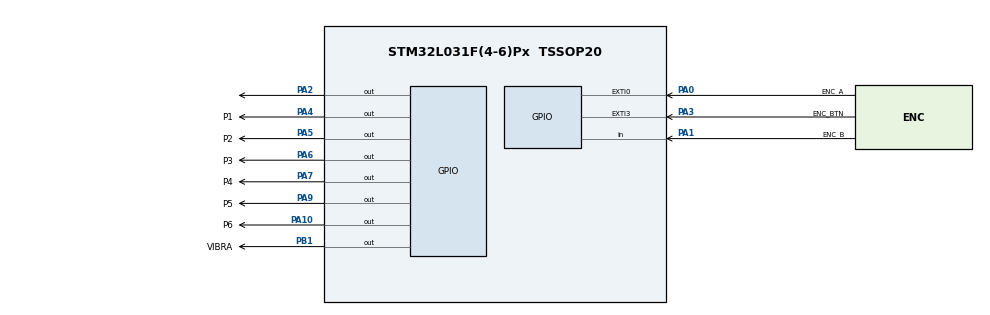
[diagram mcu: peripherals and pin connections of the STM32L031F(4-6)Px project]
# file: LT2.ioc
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Mcu.Family=STM32L0
Mcu.Name=STM32L031F(4-6)Px
Mcu.Package=TSSOP20
NVIC.EXTI0_1_IRQn=true\:0\:0\:false\:false\:true\:true\:true\:true
NVIC.EXTI2_3_IRQn=true\:0\:0\:false\:false\:true\:true\:true\:true
NVIC.RTC_IRQn=true\:0\:0\:false\:false\:true\:true\:true\:true
NVIC.TIM21_IRQn=true\:0\:0\:false\:false\:true\:true\:true\:true
NVIC.TIM22_IRQn=true\:0\:0\:false\:false\:true\:true\:true\:true
NVIC.TIM2_IRQn=true\:0\:0\:false\:false\:true\:true\:true\:true
PA0-CK_IN.GPIO_Label=ENC_A
PA0-CK_IN.GPIO_ModeDefaultEXTI=GPIO_MODE_IT_RISING_FALLING
PA0-CK_IN.Signal=GPXTI0
PA1.GPIO_Label=ENC_B
PA1.Signal=GPIO_Input
PA10.GPIO_Label=P6
PA10.Signal=GPIO_Output
PA13.Mode=Serial_Wire
PA13.Signal=SYS_SWDIO
PA14.Mode=Serial_Wire
PA14.Signal=SYS_SWCLK
PA2.Signal=GPIO_Output
PA3.GPIO_Label=ENC_BTN
PA3.GPIO_ModeDefaultEXTI=GPIO_MODE_IT_RISING_FALLING
PA3.Signal=GPXTI3
PA4.GPIO_Label=P1
PA4.Signal=GPIO_Output
PA5.GPIO_Label=P2
PA5.Signal=GPIO_Output
PA6.GPIO_Label=P3
PA6.Signal=GPIO_Output
PA7.GPIO_Label=P4
PA7.Signal=GPIO_Output
PA9.GPIO_Label=P5
PA9.Signal=GPIO_Output
PB1.GPIO_Label=VIBRA
PB1.Signal=GPIO_Output
PC14-OSC32_IN.Mode=LSE-External-Oscillator
PC14-OSC32_IN.Signal=RCC_OSC32_IN
PC15-OSC32_OUT.Mode=LSE-External-Oscillator
PC15-OSC32_OUT.Signal=RCC_OSC32_OUT
ProjectManager.HeapSize=0x200
ProjectManager.StackSize=0x400
ProjectManager.TargetToolchain=STM32CubeIDE
RCC.AHBFreq_Value=16000000
RCC.APB1Freq_Value=16000000
RCC.APB1TimFreq_Value=16000000
RCC.APB2Freq_Value=16000000
RCC.APB2TimFreq_Value=16000000
RCC.HCLKFreq_Value=16000000
RCC.HSE_VALUE=8000000
RCC.HSI16_VALUE=16000000
RCC.HSI_VALUE=16000000
RCC.MSI_VALUE=2097000
RCC.RTCClockSelection=RCC_RTCCLKSOURCE_LSE
RCC.RTCClockSelectionVirtual=RCC_RTCCLKSOURCE_LSE
RCC.SYSCLKFreq_VALUE=16000000
RCC.SYSCLKSource=RCC_SYSCLKSOURCE_HSI
RCC.VCOOutputFreq_Value=48000000
TIM2.Channel-Output\ Compare1\ No\ Output=TIM_CHANNEL_1
TIM2.Channel-Output\ Compare2\ No\ Output=TIM_CHANNEL_2
TIM2.Channel-Output\ Compare3\ No\ Output=TIM_CHANNEL_3
TIM2.Channel-Output\ Compare4\ No\ Output=TIM_CHANNEL_4
TIM2.Prescaler=15999
TIM21.Channel-Output\ Compare1\ No\ Output=TIM_CHANNEL_1
TIM21.Channel-Output\ Compare2\ No\ Output=TIM_CHANNEL_2
TIM21.Period=0
TIM21.Prescaler=15999
TIM22.Channel-Output\ Compare1\ No\ Output=TIM_CHANNEL_1
TIM22.Period=110
TIM22.Prescaler=100
TIM22.Pulse-Output\ Compare1\ No\ Output=50
VP_RTC_VS_RTC_Activate.Mode=RTC_Enabled
VP_RTC_VS_RTC_WakeUp_intern.Mode=WakeUp
VP_SYS_VS_LPOM.Mode=PowerOptimisation
VP_TIM21_VS_no_output1.Mode=Output Compare1 No Output
VP_TIM21_VS_no_output2.Mode=Output Compare2 No Output
VP_TIM22_VS_ClockSourceINT.Mode=Internal
VP_TIM22_VS_no_output1.Mode=Output Compare1 No Output
VP_TIM2_VS_ClockSourceINT.Mode=Internal
VP_TIM2_VS_no_output1.Mode=Output Compare1 No Output
VP_TIM2_VS_no_output2.Mode=Output Compare2 No Output
VP_TIM2_VS_no_output3.Mode=Output Compare3 No Output
VP_TIM2_VS_no_output4.Mode=Output Compare4 No Output
board=custom

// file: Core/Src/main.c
/* USER CODE BEGIN Header */
/**
  ******************************************************************************
  * @file           : main.c
  * @brief          : Main program body
  ******************************************************************************
  * @attention
  *
  * Copyright (c) 2025 STMicroelectronics.
  * All rights reserved.
  *
  * This software is licensed under terms that can be found in the LICENSE file
  * in the root directory of this software component.
  * If no LICENSE file comes with this software, it is provided AS-IS.
  *
  ******************************************************************************
  */
/* USER CODE END Header */
#include "main.h"
#include "rtc.h"
#include "tim.h"
#include "gpio.h"

/* USER CODE BEGIN Includes */
#include "encoder.h"
#include "disp.h"
/* USER CODE END Includes */

void SystemClock_Config(void);

/* USER CODE BEGIN 0 */
static int8_t main_task_func(uint8_t event, void *data);
static task_t main_task = {.name = "main task", .task = main_task_func};
int8_t main_tid;

// states
#define MAIN_ST_OFF (0)
#define MAIN_ST_SET_TIMER (1)
#define MAIN_ST_RUNNING (2)
#define MAIN_ST_RUNNING_DISP_OFF (3)
#define MAIN_ST_PAUSE (4)
#define MAIN_ST_ALARM (5)
#define MAIN_ST_TEST (6)

static struct {
	uint16_t state;
	struct {
		uint8_t min, sec;
	} timer_set, timer_cnt;
	uint16_t disp_timeout;
	uint8_t disp_state;
} main_task_ctrl = {
		.state = MAIN_ST_OFF,
};
#define TIMER_SET_MAX_MINUTES (99)
#define TIMER_SET_MIN_MINUTES (01)
#define TIMER_SET_SECONDS (59)

#define TIMER_DISP_ON_TIMEOUT (30) // in s
#define TIMER_DISP_ALARM_TIMEOUT (30) // in s

static inline void vibra_off(void) {
	LL_GPIO_ResetOutputPin(VIBRA_GPIO_Port, VIBRA_Pin);
}

static inline void vibra_on(void) {
	LL_GPIO_SetOutputPin(VIBRA_GPIO_Port, VIBRA_Pin);
}

static int8_t main_task_func(uint8_t event, void *data) {
	switch(main_task_ctrl.state) {
	// -------------------------------------------------------------------------
	case MAIN_ST_OFF:
		if( (event == EV_START) ||
			(event == EV_ENC_SINGLE_PRESSED)) {
			// was in off state
			power_mode_request(POWER_MODE_SLEEP); // to display time and timer functionalities
			main_task_ctrl.state = MAIN_ST_SET_TIMER;
			main_task_ctrl.timer_set.min = 1;
			main_task_ctrl.timer_set.sec = 0;
			disp_on();
			disp_show_number(main_task_ctrl.timer_set.min);
			main_task_ctrl.disp_timeout = TIMER_DISP_ON_TIMEOUT;
			rtc_start_1s_timing_event();
			encoder_btn_use_debounce();
			vibra_off();
		}
		break;

	// -------------------------------------------------------------------------
	case MAIN_ST_SET_TIMER:
		if(event == EV_TIMER_RTC) { // timeout--
			if(main_task_ctrl.disp_timeout) {
				main_task_ctrl.disp_timeout--;
				if(main_task_ctrl.disp_timeout == 0) {
					// expired
					main_task_ctrl.state = MAIN_ST_OFF;
					power_mode_release(POWER_MODE_SLEEP);
					rtc_stop_timing_event();
					encoder_btn_use_int_only();
					disp_off();
					vibra_off();
				}
			}
		}
		if(event == EV_ENC_ROT_RIGHT) { // +
			main_task_ctrl.disp_timeout = TIMER_DISP_ON_TIMEOUT; // reset timeout
			if(main_task_ctrl.timer_set.min < TIMER_SET_MAX_MINUTES) {
				main_task_ctrl.timer_set.min++;
				disp_show_number(main_task_ctrl.timer_set.min);
			}
		}
		if(event == EV_ENC_ROT_LEFT) { // -
			main_task_ctrl.disp_timeout = TIMER_DISP_ON_TIMEOUT; // reset timeout
			if(main_task_ctrl.timer_set.min > TIMER_SET_MIN_MINUTES) {
				main_task_ctrl.timer_set.min--;
				disp_show_number(main_task_ctrl.timer_set.min);
			}
		}
		if(event == EV_ENC_SINGLE_PRESSED) { // start
			main_task_ctrl.state = MAIN_ST_RUNNING;
			main_task_ctrl.timer_cnt.min = main_task_ctrl.timer_set.min;
			main_task_ctrl.timer_cnt.sec = main_task_ctrl.timer_set.sec;
			disp_show_number(main_task_ctrl.timer_cnt.min);
			disp_activity_on();
			rtc_start_1s_timing_event();
		}
		if(event == EV_ENC_LONG_PRESSED) { // stop, off
			main_task_ctrl.state = MAIN_ST_OFF;
			power_mode_release(POWER_MODE_SLEEP);
			rtc_stop_timing_event();
			encoder_btn_use_int_only();
			disp_off();
		}
		break;

	// -------------------------------------------------------------------------
	case MAIN_ST_RUNNING:
		if(event == EV_TIMER_RTC) { // timeout--
			main_task_ctrl.disp_state = 1;
			if(main_task_ctrl.timer_cnt.sec == 0) {
				if(main_task_ctrl.timer_cnt.min == 0) {
					// expired: ALARM
					main_task_ctrl.state = MAIN_ST_ALARM;
					main_task_ctrl.disp_state = 0;
					main_task_ctrl.disp_timeout = TIMER_DISP_ALARM_TIMEOUT;
					disp_show_number(main_task_ctrl.timer_set.min);
					vibra_on();
				}
				else {
					main_task_ctrl.timer_cnt.sec = TIMER_SET_SECONDS;
					main_task_ctrl.timer_cnt.min--;
				}
			}
			else {
				main_task_ctrl.timer_cnt.sec--;
			}

			if(main_task_ctrl.timer_cnt.min) {
				disp_show_number(main_task_ctrl.timer_cnt.min);
			}
			else {
				disp_show_number(main_task_ctrl.timer_cnt.sec);
			}
			if(main_task_ctrl.disp_state) {
				if(main_task_ctrl.timer_cnt.sec & 0x01)
					disp_activity_on();
				else
					disp_activity_off();
			}
		}
		if(event == EV_ENC_SINGLE_PRESSED) { // pause
			main_task_ctrl.state = MAIN_ST_PAUSE;
			rtc_start_1s_timing_event();
			if(main_task_ctrl.timer_cnt.min) {
				disp_show_number(main_task_ctrl.timer_cnt.min);
			}
			else {
				disp_show_number(main_task_ctrl.timer_cnt.sec);
			}
			disp_activity_off();
			main_task_ctrl.disp_state = 0;
		}
		if(event == EV_ENC_LONG_PRESSED) { // stop, set time
			main_task_ctrl.state = MAIN_ST_SET_TIMER;
			disp_show_number(main_task_ctrl.timer_set.min);
			main_task_ctrl.disp_timeout = TIMER_DISP_ON_TIMEOUT;
			rtc_start_1s_timing_event();
		}
		break;

	// -------------------------------------------------------------------------
	case MAIN_ST_RUNNING_DISP_OFF:
		break;

	// -------------------------------------------------------------------------
	case MAIN_ST_PAUSE:
		if(event == EV_TIMER_RTC) { // blink time
			if(main_task_ctrl.disp_state == 0) {
				main_task_ctrl.disp_state = 1;
				disp_number_off();
			}
			else {
				main_task_ctrl.disp_state = 0;
				if(main_task_ctrl.timer_cnt.min) {
					disp_show_number(main_task_ctrl.timer_cnt.min);
				}
				else {
					disp_show_number(main_task_ctrl.timer_cnt.sec);
				}
			}
		}
		if(event == EV_ENC_SINGLE_PRESSED) { // resume
			main_task_ctrl.state = MAIN_ST_RUNNING;
			disp_show_number(main_task_ctrl.timer_cnt.min);
			disp_activity_on();
			rtc_start_1s_timing_event();
		}
		if(event == EV_ENC_LONG_PRESSED) { // stop, set time
			main_task_ctrl.state = MAIN_ST_SET_TIMER;
			disp_show_number(main_task_ctrl.timer_set.min);
			main_task_ctrl.disp_timeout = TIMER_DISP_ON_TIMEOUT;
			rtc_start_1s_timing_event();
		}
		break;

	// -------------------------------------------------------------------------// -------------------------------------------------------------------------
	case MAIN_ST_ALARM:
		if(event == EV_TIMER_RTC) { // blink time
			if(main_task_ctrl.disp_timeout) {
				main_task_ctrl.disp_timeout--;
				if(main_task_ctrl.disp_timeout == 0) {
					// expired
					main_task_ctrl.state = MAIN_ST_SET_TIMER;
					disp_show_number(main_task_ctrl.timer_set.min);
					main_task_ctrl.disp_timeout = TIMER_DISP_ON_TIMEOUT;
					rtc_start_1s_timing_event();
					vibra_off();
					break;
				}
			}
			if(main_task_ctrl.disp_state == 0) {
				main_task_ctrl.disp_state = 1;
				disp_number_off();
				vibra_off();
			}
			else {
				main_task_ctrl.disp_state = 0;
				disp_show_number(main_task_ctrl.timer_set.min);
				vibra_on();
			}
		}
		if( (event == EV_ENC_SINGLE_PRESSED) ||
			(event == EV_ENC_LONG_PRESSED)) { // done, go back to set time
			main_task_ctrl.state = MAIN_ST_SET_TIMER;
			disp_show_number(main_task_ctrl.timer_set.min);
			main_task_ctrl.disp_timeout = TIMER_DISP_ON_TIMEOUT;
			rtc_start_1s_timing_event();
			vibra_off();
		}
		break;
	}

	return 1; // stay on
}

/*
 * power modes, cases
 *
 * 1. case 0: nothing to do, no data to preserve
 *   + available power modes: **stop**
 *   + all power down,
 *   + wakeup by rotary encoder, press or rotate -> EXTI, GPIO only
 *   + available power modes:
 *     + GPIO + EXTI: run; sleep; low-power run; low-power-sleep; stop; wake up from standby:
 *       + PA0: WKUP1: ENC_A_Pin -> rotate knob to wake
 *       + PA2: WKUP3: unused (UART2_TX)
 * 2. case 1: display, setup time, count down time
 *   + use power mode: **sleep**
 *   + active: rotary encoder + button -> 16-bit timers
 *   + RTC timer
 *   + display -> 16-bit timers
 *   + CPU may be off, when there is nothing to do
 *   + available power modes:
 *     + 16-bit timers: run; **sleep**; low-power run; low-power-sleep; - ; -
 *     + RTC: run; sleep; low-power run; low-power-sleep; stop; standby
 */

/* USER CODE END 0 */

int main(void)
{

  /* MCU Configuration--------------------------------------------------------*/

  /* Reset of all peripherals, Initializes the Flash interface and the Systick. */
  LL_APB2_GRP1_EnableClock(LL_APB2_GRP1_PERIPH_SYSCFG);
  LL_APB1_GRP1_EnableClock(LL_APB1_GRP1_PERIPH_PWR);

  /* SysTick_IRQn interrupt configuration */
  NVIC_SetPriority(SysTick_IRQn, 3);

  /* Configure the system clock */
  SystemClock_Config();

  /* Initialize all configured peripherals */
  MX_GPIO_Init();
  MX_RTC_Init();
  MX_TIM22_Init();
  MX_TIM2_Init();
  MX_TIM21_Init();
  /* USER CODE BEGIN 2 */
	scheduler_init();
	//power_mode_request(POWER_MODE_SLEEP); // to display time and timer functionalities
	power_mode_request(POWER_MODE_STOP); // no to do: power down everything, but generate INT on encoder input

	encoder_init();
	disp_init();
	vibra_off();

	scheduler_add_task(&main_task);
	main_tid = main_task.tid;
	scheduler_start_task(main_tid);

	// stay in scheduler
	scheduler_run();

  /* USER CODE END 2 */

  /* Infinite loop */
	while (1)
	{

	}
}

void SystemClock_Config(void)
{
  LL_FLASH_SetLatency(LL_FLASH_LATENCY_0);
  while(LL_FLASH_GetLatency()!= LL_FLASH_LATENCY_0)
  {
  }
  LL_PWR_SetRegulVoltageScaling(LL_PWR_REGU_VOLTAGE_SCALE1);
  while (LL_PWR_IsActiveFlag_VOS() != 0)
  {
  }
  LL_RCC_HSI_Enable();

   /* Wait till HSI is ready */
  while(LL_RCC_HSI_IsReady() != 1)
  {

  }
  LL_RCC_HSI_SetCalibTrimming(16);
  LL_PWR_EnableBkUpAccess();
  if(LL_RCC_GetRTCClockSource() != LL_RCC_RTC_CLKSOURCE_LSE)
  {
    LL_RCC_ForceBackupDomainReset();
    LL_RCC_ReleaseBackupDomainReset();
  }
  LL_RCC_LSE_SetDriveCapability(LL_RCC_LSEDRIVE_LOW);
  LL_RCC_LSE_Enable();

   /* Wait till LSE is ready */
  while(LL_RCC_LSE_IsReady() != 1)
  {

  }
  if(LL_RCC_GetRTCClockSource() != LL_RCC_RTC_CLKSOURCE_LSE)
  {
    LL_RCC_SetRTCClockSource(LL_RCC_RTC_CLKSOURCE_LSE);
  }
  LL_RCC_EnableRTC();
  LL_RCC_SetAHBPrescaler(LL_RCC_SYSCLK_DIV_1);
  LL_RCC_SetAPB1Prescaler(LL_RCC_APB1_DIV_1);
  LL_RCC_SetAPB2Prescaler(LL_RCC_APB2_DIV_1);
  LL_RCC_SetSysClkSource(LL_RCC_SYS_CLKSOURCE_HSI);

   /* Wait till System clock is ready */
  while(LL_RCC_GetSysClkSource() != LL_RCC_SYS_CLKSOURCE_STATUS_HSI)
  {

  }

  LL_Init1msTick(16000000);

  LL_SetSystemCoreClock(16000000);
}

void Error_Handler(void)
{
  __disable_irq();
  while (1)
  {
  }
}
